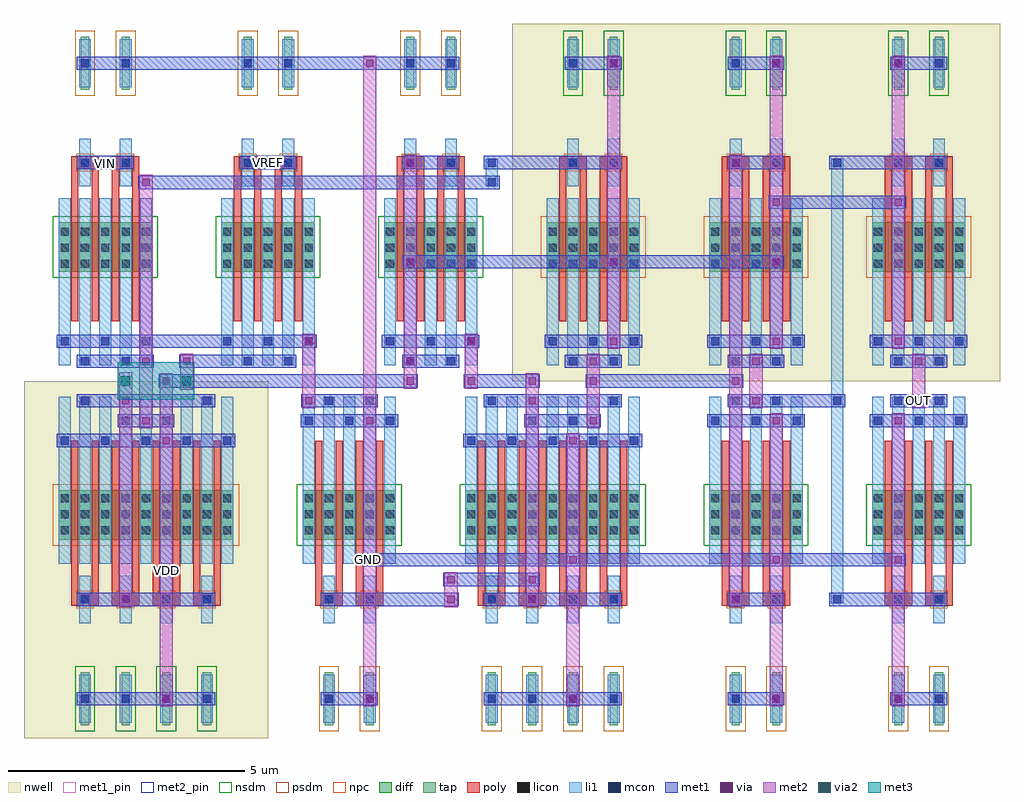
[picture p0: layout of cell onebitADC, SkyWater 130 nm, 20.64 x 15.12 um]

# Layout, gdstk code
import gdstk
lib = gdstk.Library(unit=1e-6, precision=1e-09)
def R(c, l, rs):  # rectangles x0, y0, x1, y1
    for r in rs: c.add(gdstk.rectangle(r[:2], r[2:], *l))
def A(c, l, x, y, w, h, nx, ny, dx, dy):  # array of equal rectangles
    R(c, l, [(x+i*dx, y+j*dy, x+i*dx+w, y+j*dy+h) for i in range(nx) for j in range(ny)])
nwell = (64, 20)
diff = (65, 20)
tap = (65, 44)
poly = (66, 20)
licon = (66, 44)
li1 = (67, 20)
mcon = (67, 44)
met1_pin = (68, 16)
met1 = (68, 20)
via = (68, 44)
met2_pin = (69, 16)
met2 = (69, 20)
via2 = (69, 44)
met3 = (70, 20)
nsdm = (93, 44)
psdm = (94, 20)
npc = (95, 20)

onebitadc = lib.new_cell('onebitADC')
R(onebitadc, nwell, [(0,0,5.16,7.56), (10.32,7.56,20.64,15.12)])
A(onebitadc, diff, 0.735, 9.87, 1.97, 1.05, 6, 1, 3.44, 0)
R(onebitadc, diff, [(0.735,4.2,4.425,5.25), (5.895,4.2,7.865,5.25), (9.335,4.2,13.025,5.25), (14.495,4.2,16.465,5.25), (17.935,4.2,19.905,5.25)])
A(onebitadc, tap, 1.205, 0.28, 0.17, 1.12, 4, 1, 0.86, 0)
A(onebitadc, tap, 9.805, 0.28, 0.17, 1.12, 4, 1, 0.86, 0)
R(onebitadc, tap, [(6.365,0.28,6.535,1.4), (7.225,0.28,7.395,1.4), (14.965,0.28,15.135,1.4), (15.825,0.28,15.995,1.4), (18.405,0.28,18.575,1.4), (19.265,0.28,19.435,1.4), (1.205,13.72,1.375,14.84), (2.065,13.72,2.235,14.84), (4.645,13.72,4.815,14.84), (5.505,13.72,5.675,14.84), (8.085,13.72,8.255,14.84), (8.945,13.72,9.115,14.84), (11.525,13.72,11.695,14.84), (12.385,13.72,12.555,14.84), (14.965,13.72,15.135,14.84), (15.825,13.72,15.995,14.84), (18.405,13.72,18.575,14.84), (19.265,13.72,19.435,14.84)])
A(onebitadc, poly, 1, 2.805, 0.58, 0.27, 4, 1, 0.86, 0)
A(onebitadc, poly, 9.6, 2.805, 0.58, 0.27, 4, 1, 0.86, 0)
A(onebitadc, poly, 1, 3.075, 0.15, 3.225, 8, 1, 0.43, 0)
A(onebitadc, poly, 6.16, 3.075, 0.15, 3.225, 4, 1, 0.43, 0)
A(onebitadc, poly, 9.6, 3.075, 0.15, 3.225, 8, 1, 0.43, 0)
A(onebitadc, poly, 14.76, 3.075, 0.15, 3.225, 4, 2, 0.43, 5.745)
A(onebitadc, poly, 18.2, 3.075, 0.15, 3.225, 4, 2, 0.43, 5.745)
A(onebitadc, poly, 1, 8.82, 0.15, 3.225, 4, 1, 0.43, 0)
A(onebitadc, poly, 4.44, 8.82, 0.15, 3.225, 4, 1, 0.43, 0)
A(onebitadc, poly, 7.88, 8.82, 0.15, 3.225, 4, 1, 0.43, 0)
A(onebitadc, poly, 11.32, 8.82, 0.15, 3.225, 4, 1, 0.43, 0)
R(onebitadc, poly, [(6.16,2.805,6.74,3.075), (7.02,2.805,7.6,3.075), (14.76,2.805,15.34,3.075), (15.62,2.805,16.2,3.075), (18.2,2.805,18.78,3.075), (19.06,2.805,19.64,3.075), (1,12.045,1.58,12.315), (1.86,12.045,2.44,12.315), (4.44,12.045,5.02,12.315), (5.3,12.045,5.88,12.315), (7.88,12.045,8.46,12.315), (8.74,12.045,9.32,12.315), (11.32,12.045,11.9,12.315), (12.18,12.045,12.76,12.315), (14.76,12.045,15.34,12.315), (15.62,12.045,16.2,12.315), (18.2,12.045,18.78,12.315), (19.06,12.045,19.64,12.315)])
A(onebitadc, licon, 1.205, 0.755, 0.17, 0.17, 4, 2, 0.86, 2.1)
A(onebitadc, licon, 9.805, 0.755, 0.17, 0.17, 4, 2, 0.86, 2.1)
A(onebitadc, licon, 0.775, 4.32, 0.17, 0.17, 9, 3, 0.43, 0.34)
A(onebitadc, licon, 5.935, 4.32, 0.17, 0.17, 5, 3, 0.43, 0.34)
A(onebitadc, licon, 9.375, 4.32, 0.17, 0.17, 9, 3, 0.43, 0.34)
A(onebitadc, licon, 14.535, 4.32, 0.17, 0.17, 5, 3, 0.43, 0.34)
A(onebitadc, licon, 17.975, 4.32, 0.17, 0.17, 5, 3, 0.43, 0.34)
A(onebitadc, licon, 0.775, 9.95, 0.17, 0.17, 5, 3, 0.43, 0.34)
A(onebitadc, licon, 4.215, 9.95, 0.17, 0.17, 5, 3, 0.43, 0.34)
A(onebitadc, licon, 7.655, 9.95, 0.17, 0.17, 5, 3, 0.43, 0.34)
A(onebitadc, licon, 11.095, 9.95, 0.17, 0.17, 5, 3, 0.43, 0.34)
A(onebitadc, licon, 14.535, 9.95, 0.17, 0.17, 5, 3, 0.43, 0.34)
A(onebitadc, licon, 17.975, 9.95, 0.17, 0.17, 5, 3, 0.43, 0.34)
R(onebitadc, licon, [(6.365,0.755,6.535,0.925), (7.225,0.755,7.395,0.925), (14.965,0.755,15.135,0.925), (15.825,0.755,15.995,0.925), (18.405,0.755,18.575,0.925), (19.265,0.755,19.435,0.925), (6.365,2.855,6.535,3.025), (7.225,2.855,7.395,3.025), (14.965,2.855,15.135,3.025), (15.825,2.855,15.995,3.025), (18.405,2.855,18.575,3.025), (19.265,2.855,19.435,3.025), (1.205,12.095,1.375,12.265), (2.065,12.095,2.235,12.265), (4.645,12.095,4.815,12.265), (5.505,12.095,5.675,12.265), (8.085,12.095,8.255,12.265), (8.945,12.095,9.115,12.265), (11.525,12.095,11.695,12.265), (12.385,12.095,12.555,12.265), (14.965,12.095,15.135,12.265), (15.825,12.095,15.995,12.265), (18.405,12.095,18.575,12.265), (19.265,12.095,19.435,12.265), (1.205,14.195,1.375,14.365), (2.065,14.195,2.235,14.365), (4.645,14.195,4.815,14.365), (5.505,14.195,5.675,14.365), (8.085,14.195,8.255,14.365), (8.945,14.195,9.115,14.365), (11.525,14.195,11.695,14.365), (12.385,14.195,12.555,14.365), (14.965,14.195,15.135,14.365), (15.825,14.195,15.995,14.365), (18.405,14.195,18.575,14.365), (19.265,14.195,19.435,14.365)])
A(onebitadc, li1, 1.165, 0.335, 0.25, 1.01, 4, 2, 0.86, 2.1)
A(onebitadc, li1, 9.765, 0.335, 0.25, 1.01, 4, 2, 0.86, 2.1)
A(onebitadc, li1, 0.735, 3.695, 0.25, 3.53, 9, 1, 0.43, 0)
A(onebitadc, li1, 5.895, 3.695, 0.25, 3.53, 5, 1, 0.43, 0)
A(onebitadc, li1, 9.335, 3.695, 0.25, 3.53, 9, 1, 0.43, 0)
A(onebitadc, li1, 14.495, 3.695, 0.25, 3.53, 5, 2, 0.43, 4.2)
A(onebitadc, li1, 17.935, 3.695, 0.25, 3.53, 5, 2, 0.43, 4.2)
A(onebitadc, li1, 0.735, 7.895, 0.25, 3.53, 5, 1, 0.43, 0)
A(onebitadc, li1, 4.175, 7.895, 0.25, 3.53, 5, 1, 0.43, 0)
A(onebitadc, li1, 7.615, 7.895, 0.25, 3.53, 5, 1, 0.43, 0)
A(onebitadc, li1, 11.055, 7.895, 0.25, 3.53, 5, 1, 0.43, 0)
R(onebitadc, li1, [(6.325,0.335,6.575,1.345), (7.185,0.335,7.435,1.345), (14.925,0.335,15.175,1.345), (15.785,0.335,16.035,1.345), (18.365,0.335,18.615,1.345), (19.225,0.335,19.475,1.345), (6.325,2.435,6.575,3.445), (7.185,2.435,7.435,3.445), (14.925,2.435,15.175,3.445), (15.785,2.435,16.035,3.445), (18.365,2.435,18.615,3.445), (19.225,2.435,19.475,3.445), (17.075,2.855,17.325,12.265), (1.165,11.675,1.415,12.685), (2.025,11.675,2.275,12.685), (4.605,11.675,4.855,12.685), (5.465,11.675,5.715,12.685), (8.045,11.675,8.295,12.685), (8.905,11.675,9.155,12.685), (9.765,11.675,10.015,12.265), (11.485,11.675,11.735,12.685), (12.345,11.675,12.595,12.685), (14.925,11.675,15.175,12.685), (15.785,11.675,16.035,12.685), (18.365,11.675,18.615,12.685), (19.225,11.675,19.475,12.685), (1.165,13.775,1.415,14.785), (2.025,13.775,2.275,14.785), (4.605,13.775,4.855,14.785), (5.465,13.775,5.715,14.785), (8.045,13.775,8.295,14.785), (8.905,13.775,9.155,14.785), (11.485,13.775,11.735,14.785), (12.345,13.775,12.595,14.785), (14.925,13.775,15.175,14.785), (15.785,13.775,16.035,14.785), (18.365,13.775,18.615,14.785), (19.225,13.775,19.475,14.785)])
A(onebitadc, mcon, 1.205, 0.755, 0.17, 0.17, 4, 2, 0.86, 2.1)
A(onebitadc, mcon, 9.805, 0.755, 0.17, 0.17, 4, 2, 0.86, 2.1)
A(onebitadc, mcon, 15.825, 2.855, 0.17, 0.17, 3, 2, 1.29, 4.2)
A(onebitadc, mcon, 0.775, 6.215, 0.17, 0.17, 5, 1, 0.86, 0)
A(onebitadc, mcon, 9.375, 6.215, 0.17, 0.17, 5, 1, 0.86, 0)
A(onebitadc, mcon, 5.935, 6.635, 0.17, 0.17, 3, 1, 0.86, 0)
A(onebitadc, mcon, 14.535, 6.635, 0.17, 0.17, 3, 2, 0.86, 1.68)
A(onebitadc, mcon, 17.975, 6.635, 0.17, 0.17, 3, 2, 0.86, 1.68)
A(onebitadc, mcon, 1.205, 7.055, 0.17, 0.17, 3, 1, 2.58, 0)
A(onebitadc, mcon, 7.225, 7.055, 0.17, 0.17, 4, 1, 2.58, 0)
A(onebitadc, mcon, 0.775, 8.315, 0.17, 0.17, 3, 1, 0.86, 0)
A(onebitadc, mcon, 4.215, 8.315, 0.17, 0.17, 3, 1, 0.86, 0)
A(onebitadc, mcon, 7.655, 8.315, 0.17, 0.17, 3, 1, 0.86, 0)
A(onebitadc, mcon, 11.095, 8.315, 0.17, 0.17, 3, 1, 0.86, 0)
A(onebitadc, mcon, 8.085, 12.095, 0.17, 0.17, 3, 1, 0.86, 0)
A(onebitadc, mcon, 15.825, 12.095, 0.17, 0.17, 3, 1, 1.29, 0)
R(onebitadc, mcon, [(6.365,0.755,6.535,0.925), (7.225,0.755,7.395,0.925), (14.965,0.755,15.135,0.925), (15.825,0.755,15.995,0.925), (18.405,0.755,18.575,0.925), (19.265,0.755,19.435,0.925), (6.365,2.855,6.535,3.025), (7.225,2.855,7.395,3.025), (14.965,2.855,15.135,3.025), (19.265,2.855,19.435,3.025), (2.065,6.635,2.235,6.805), (2.925,6.635,3.095,6.805), (10.665,6.635,10.835,6.805), (11.525,6.635,11.695,6.805), (19.265,7.055,19.435,7.225), (1.205,7.895,1.375,8.065), (2.065,7.895,2.235,8.065), (4.645,7.895,4.815,8.065), (5.505,7.895,5.675,8.065), (8.085,7.895,8.255,8.065), (8.945,7.895,9.115,8.065), (11.525,7.895,11.695,8.065), (12.385,7.895,12.555,8.065), (14.965,7.895,15.135,8.065), (15.825,7.895,15.995,8.065), (18.405,7.895,18.575,8.065), (19.265,7.895,19.435,8.065), (9.805,11.675,9.975,11.845), (1.205,12.095,1.375,12.265), (2.065,12.095,2.235,12.265), (4.645,12.095,4.815,12.265), (5.505,12.095,5.675,12.265), (11.525,12.095,11.695,12.265), (12.385,12.095,12.555,12.265), (14.965,12.095,15.135,12.265), (19.265,12.095,19.435,12.265), (1.205,14.195,1.375,14.365), (2.065,14.195,2.235,14.365), (4.645,14.195,4.815,14.365), (5.505,14.195,5.675,14.365), (8.085,14.195,8.255,14.365), (8.945,14.195,9.115,14.365), (11.525,14.195,11.695,14.365), (12.385,14.195,12.555,14.365), (14.965,14.195,15.135,14.365), (15.825,14.195,15.995,14.365), (18.405,14.195,18.575,14.365), (19.265,14.195,19.435,14.365)])
R(onebitadc, met1_pin, [(1.61,12.08,1.82,12.26), (5.06,12.1,5.27,12.28)])
A(onebitadc, met1, 8, 7.84, 1.2, 0.28, 4, 1, 3.44, 0)
A(onebitadc, met1, 7.57, 8.26, 2.06, 0.28, 4, 1, 3.44, 0)
A(onebitadc, met1, 1.12, 12.04, 1.2, 0.28, 3, 1, 3.44, 0)
A(onebitadc, met1, 11.44, 14.14, 1.2, 0.28, 3, 1, 3.44, 0)
R(onebitadc, met1, [(1.12,0.7,4.04,0.98), (6.28,0.7,7.48,0.98), (9.72,0.7,12.64,0.98), (14.88,0.7,16.08,0.98), (18.32,0.7,19.52,0.98), (1.12,2.8,4.04,3.08), (6.28,2.8,9.19,3.08), (9.72,2.8,12.64,3.08), (14.88,2.8,16.08,3.08), (17.03,2.8,19.52,3.08), (8.87,3.22,10.91,3.5), (7.15,3.64,18.65,3.92), (0.69,6.16,4.47,6.44), (9.29,6.16,13.07,6.44), (1.98,6.58,3.18,6.86), (5.85,6.58,7.91,6.86), (10.58,6.58,12.2,6.86), (14.45,6.58,16.51,6.86), (17.89,6.58,19.95,6.86), (1.12,7,4.04,7.28), (5.86,7,7.48,7.28), (9.72,7,12.64,7.28), (14.88,7,17.37,7.28), (18.32,7,19.52,7.28), (2.85,7.42,8.33,7.7), (9.3,7.42,10.91,7.7), (11.88,7.42,15.21,7.7), (1.12,7.84,2.74,8.12), (3.28,7.84,5.76,8.12), (0.69,8.26,6.19,8.54), (8.01,9.94,16.07,10.22), (15.75,11.2,18.65,11.48), (2.42,11.62,10.06,11.9), (9.72,12.04,12.64,12.32), (14.88,12.04,16.08,12.32), (17.03,12.04,19.52,12.32), (1.12,14.14,9.2,14.42)])
A(onebitadc, via, 2.935, 0.765, 0.15, 0.15, 4, 1, 4.3, 0)
A(onebitadc, via, 18.415, 0.765, 0.15, 0.15, 1, 3, 0, 2.94)
A(onebitadc, via, 14.975, 2.865, 0.15, 0.15, 1, 3, 0, 4.62)
A(onebitadc, via, 7.235, 3.705, 0.15, 0.15, 3, 1, 4.3, 0)
A(onebitadc, via, 2.505, 6.645, 0.15, 0.15, 3, 1, 4.73, 0)
A(onebitadc, via, 15.835, 6.645, 0.15, 0.15, 1, 3, 0, 1.68)
A(onebitadc, via, 5.945, 7.065, 0.15, 0.15, 3, 1, 4.73, 0)
A(onebitadc, via, 8.095, 7.485, 0.15, 0.15, 4, 1, 1.29, 0)
A(onebitadc, via, 8.095, 7.905, 0.15, 0.15, 1, 3, 0, 2.1)
A(onebitadc, via, 11.965, 7.905, 0.15, 0.15, 3, 1, 3.44, 0)
A(onebitadc, via, 18.415, 8.325, 0.15, 0.15, 1, 3, 0, 2.94)
R(onebitadc, via, [(2.075,2.865,2.225,3.015), (8.955,2.865,9.105,3.015), (10.675,2.865,10.825,3.015), (8.955,3.285,9.105,3.435), (10.675,3.285,10.825,3.435), (2.935,6.225,3.085,6.375), (11.535,6.225,11.685,6.375), (2.075,7.065,2.225,7.215), (18.845,7.065,18.995,7.215), (2.935,7.485,3.085,7.635), (2.505,7.905,2.655,8.055), (3.365,7.905,3.515,8.055), (5.945,8.325,6.095,8.475), (9.385,8.325,9.535,8.475), (12.395,8.325,12.545,8.475), (12.395,10.005,12.545,10.155), (15.835,11.265,15.985,11.415), (2.505,11.685,2.655,11.835), (7.235,14.205,7.385,14.355), (12.395,14.205,12.545,14.355), (15.835,14.205,15.985,14.355)])
R(onebitadc, met2_pin, [(2.9,3.46,3.11,3.64), (7.19,3.69,7.4,3.87), (18.81,7.05,19.02,7.23)])
R(onebitadc, met2, [(2.87,0.68,3.15,7.72), (7.17,0.68,7.45,14.44), (11.47,0.68,11.75,6.46), (15.77,0.68,16.05,6.88), (18.35,0.68,18.63,6.88), (2.01,2.78,2.29,7.745), (8.89,2.78,9.17,3.52), (10.61,2.78,10.89,7.72), (14.91,2.78,15.19,12.34), (2.44,6.56,2.72,11.92), (11.9,6.56,12.18,8.14), (5.88,6.98,6.16,8.56), (15.34,6.98,15.62,8.14), (18.78,6.98,19.06,8.14), (3.3,7.375,3.58,8.14), (8.03,7.4,8.31,12.34), (9.32,7.4,9.6,8.56), (12.33,8.24,12.61,14.44), (15.77,8.24,16.05,14.44), (18.35,8.24,18.63,14.44)])
R(onebitadc, via2, [(2.05,7.46,2.25,7.66), (3.34,7.46,3.54,7.66)])
R(onebitadc, met3, [(1.985,7.16,3.605,7.96)])
A(onebitadc, nsdm, 1.08, 0.155, 0.42, 1.37, 4, 1, 0.86, 0)
A(onebitadc, nsdm, 0.61, 9.745, 2.22, 1.3, 3, 1, 3.44, 0)
R(onebitadc, nsdm, [(5.77,4.075,7.99,5.375), (9.21,4.075,13.15,5.375), (14.37,4.075,16.59,5.375), (17.81,4.075,20.03,5.375), (11.4,13.595,11.82,14.965), (12.26,13.595,12.68,14.965), (14.84,13.595,15.26,14.965), (15.7,13.595,16.12,14.965), (18.28,13.595,18.7,14.965), (19.14,13.595,19.56,14.965)])
A(onebitadc, psdm, 9.68, 0.155, 0.42, 1.37, 4, 1, 0.86, 0)
A(onebitadc, psdm, 10.93, 9.745, 2.22, 1.3, 3, 1, 3.44, 0)
R(onebitadc, psdm, [(6.24,0.155,6.66,1.525), (7.1,0.155,7.52,1.525), (14.84,0.155,15.26,1.525), (15.7,0.155,16.12,1.525), (18.28,0.155,18.7,1.525), (19.14,0.155,19.56,1.525), (0.61,4.075,4.55,5.375), (1.08,13.595,1.5,14.965), (1.94,13.595,2.36,14.965), (4.52,13.595,4.94,14.965), (5.38,13.595,5.8,14.965), (7.96,13.595,8.38,14.965), (8.82,13.595,9.24,14.965)])
A(onebitadc, npc, 1.105, 2.755, 0.37, 0.37, 4, 1, 0.86, 0)
A(onebitadc, npc, 9.705, 2.755, 0.37, 0.37, 4, 1, 0.86, 0)
R(onebitadc, npc, [(6.265,2.755,6.635,3.125), (7.125,2.755,7.495,3.125), (14.865,2.755,15.235,3.125), (15.725,2.755,16.095,3.125), (18.305,2.755,18.675,3.125), (19.165,2.755,19.535,3.125), (1.105,11.995,1.475,12.365), (1.965,11.995,2.335,12.365), (4.545,11.995,4.915,12.365), (5.405,11.995,5.775,12.365), (7.985,11.995,8.355,12.365), (8.845,11.995,9.215,12.365), (11.425,11.995,11.795,12.365), (12.285,11.995,12.655,12.365), (14.865,11.995,15.235,12.365), (15.725,11.995,16.095,12.365), (18.305,11.995,18.675,12.365), (19.165,11.995,19.535,12.365)])
onebitadc.add(gdstk.Label('VIN', (1.715,12.17), layer=68, texttype=5))
onebitadc.add(gdstk.Label('GND', (7.295,3.78), layer=69, texttype=5))
onebitadc.add(gdstk.Label('OUT', (18.915,7.14), layer=69, texttype=5))
onebitadc.add(gdstk.Label('VDD', (3.005,3.55), layer=69, texttype=5))
onebitadc.add(gdstk.Label('VREF', (5.165,12.19), layer=68, texttype=5))

lib.write_gds('onebitADC.gds')
